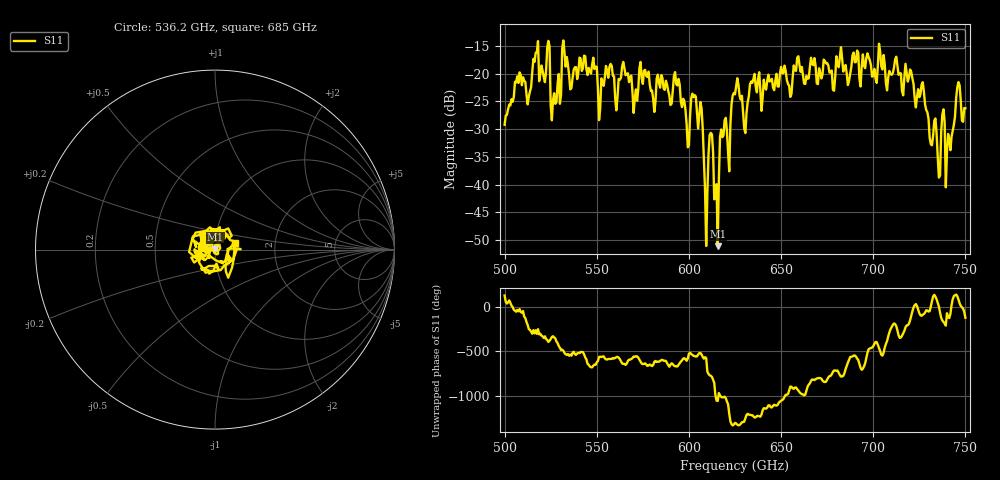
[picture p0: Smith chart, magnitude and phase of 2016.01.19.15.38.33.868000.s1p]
!Created with skrf (http://scikit-rf.org).
# GHz S RI R 50.0
!freq ReS11 ImS11
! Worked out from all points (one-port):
!   401 points, 500 GHz to 750 GHz, reference 50 ohm
!   lowest |S11| = -51.1 dB at 615.6 GHz (marker M1), VSWR 1.01, Z = 50.3 + j0.0997 ohm
!   |S11| at or under -10 dB: start of sweep to end of sweep
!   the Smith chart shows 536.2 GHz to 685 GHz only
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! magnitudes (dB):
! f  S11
! 500 GHz  -29.2
! 507.5 GHz  -21.7
! 513.1 GHz  -24.1
! 516.9 GHz  -16.3
! 523.1 GHz  -15.4
! 526.2 GHz  -24.8
! 531.2 GHz  -15.5
! 562.5 GHz  -21.1
! 593.8 GHz  -22.1
! 599.4 GHz  -33.3
! 602.5 GHz  -24.3
! 606.2 GHz  -25.1
! 609.4 GHz  -51.1
! 611.9 GHz  -30.7
! 615.6 GHz  -51.1
! 618.1 GHz  -31.5
! 621.9 GHz  -37.6
! 625 GHz  -23.7
! 630.6 GHz  -30.7
! 634.4 GHz  -21.7
! 656.2 GHz  -20.9
! 687.5 GHz  -20.1
! 718.8 GHz  -21.4
! 735.6 GHz  -38.7
! 737.5 GHz  -27.4
! 740.6 GHz  -30.9
! 746.2 GHz  -21.5
! 750 GHz  -26.2
